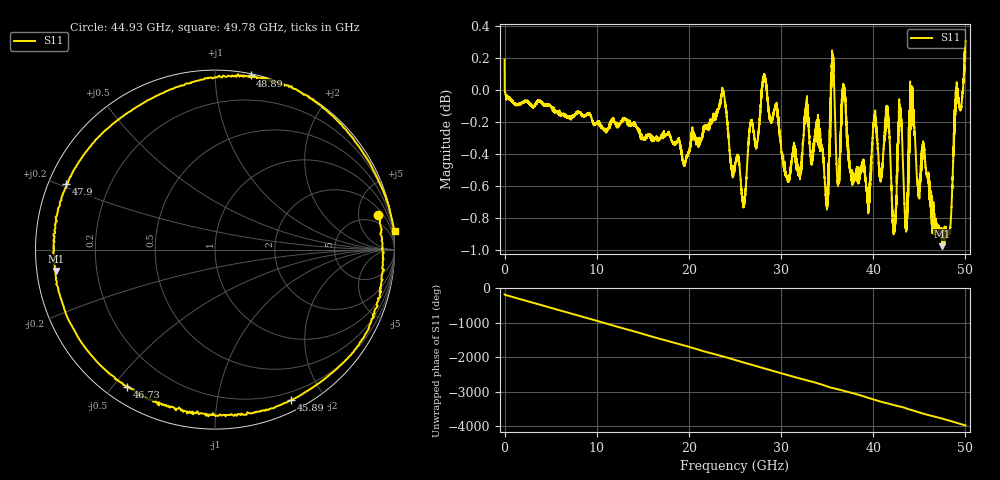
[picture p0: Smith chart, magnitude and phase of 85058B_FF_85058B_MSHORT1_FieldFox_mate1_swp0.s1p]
!Created with skrf (http://scikit-rf.org).
# Hz S RI R 50.0
!freq ReS11 ImS11
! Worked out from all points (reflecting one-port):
!   10001 points, 300 kHz to 50 GHz, reference 50 ohm
!   lowest |S11| = -1.0 dB at 47.49 GHz (marker M1), VSWR 17.82, Z = 2.82 - j3.33 ohm
!   phase of S11 starts at -175 deg and turns -3796 deg over the sweep
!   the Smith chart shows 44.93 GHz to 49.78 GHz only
!   S11 on the Smith chart (normalised r, x): 44.93 GHz: 2.99, +8.50; 45.89 GHz: 0.11, -1.62; 46.73 GHz: 0.06, -0.55; 47.9 GHz: 0.05, +0.21; 48.89 GHz: 0.01, +1.22; 49.78 GHz: -1, +19
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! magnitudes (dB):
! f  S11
! 300 kHz  0.2
! 6.25 GHz  -0.2
! 12.5 GHz  -0.2
! 18.75 GHz  -0.3
! 23.68 GHz  0.0
! 25 GHz  -0.5
! 25.98 GHz  -0.7
! 28.18 GHz  0.1
! 31.25 GHz  -0.4
! 32.76 GHz  -0.1
! 34.95 GHz  -0.7
! 35.61 GHz  0.2
! 36.16 GHz  -0.6
! 36.81 GHz  0.0
! 37.5 GHz  -0.5
! 41.52 GHz  -0.1
! 42.28 GHz  -0.9
! 42.94 GHz  -0.1
! 43.75 GHz  -0.6
! 44.21 GHz  -0.1
! 44.93 GHz  -0.6
! 45.89 GHz  -0.5
! 46.73 GHz  -0.8
! 47.49 GHz  -1.0
! 47.9 GHz  -0.9
! 48.89 GHz  -0.1
! 49.78 GHz  0.1
! 50 GHz  0.3
